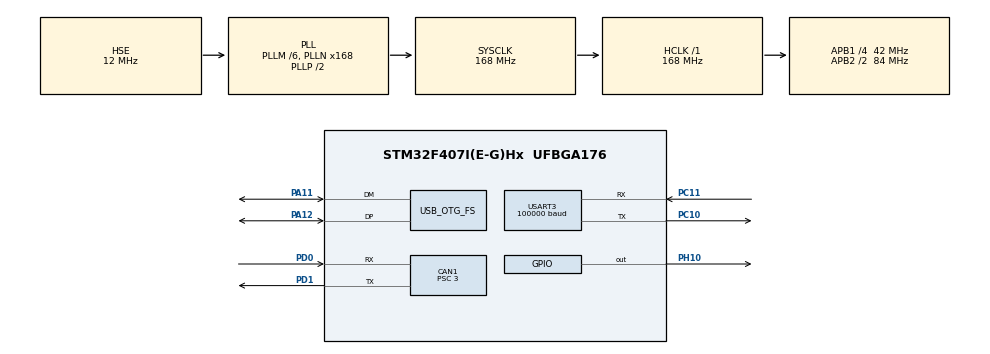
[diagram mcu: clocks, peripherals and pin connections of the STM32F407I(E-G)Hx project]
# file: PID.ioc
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CAN1.BS1=CAN_BS1_10TQ
CAN1.BS2=CAN_BS2_3TQ
CAN1.CalculateBaudRate=1000000
CAN1.CalculateTimeBit=1000
CAN1.CalculateTimeQuantum=71.42857142857143
CAN1.Prescaler=3
Dma.Request0=USART3_RX
Dma.USART3_RX.0.Direction=DMA_PERIPH_TO_MEMORY
Dma.USART3_RX.0.FIFOMode=DMA_FIFOMODE_DISABLE
Dma.USART3_RX.0.Instance=DMA1_Stream1
Dma.USART3_RX.0.MemDataAlignment=DMA_MDATAALIGN_BYTE
Dma.USART3_RX.0.MemInc=DMA_MINC_ENABLE
Dma.USART3_RX.0.Mode=DMA_CIRCULAR
Dma.USART3_RX.0.PeriphDataAlignment=DMA_PDATAALIGN_BYTE
Dma.USART3_RX.0.PeriphInc=DMA_PINC_DISABLE
Dma.USART3_RX.0.Priority=DMA_PRIORITY_LOW
FREERTOS.Tasks01=Status_Pub_Task,0,128,status_pub_task,As weak,NULL,Dynamic,NULL,NULL;PID_Task,-3,128,pid_task,As weak,NULL,Dynamic,NULL,NULL
Mcu.Family=STM32F4
Mcu.Name=STM32F407I(E-G)Hx
Mcu.Package=UFBGA176
NVIC.CAN1_RX0_IRQn=true\:5\:0\:false\:false\:true\:true\:true\:true\:true
NVIC.CAN1_TX_IRQn=true\:5\:0\:false\:false\:true\:true\:true\:true\:true
NVIC.DMA1_Stream1_IRQn=true\:5\:0\:false\:false\:true\:true\:false\:true\:true
NVIC.OTG_FS_IRQn=true\:5\:0\:false\:false\:true\:true\:false\:true\:true
NVIC.PriorityGroup=NVIC_PRIORITYGROUP_4
NVIC.TIM8_TRG_COM_TIM14_IRQn=true\:15\:0\:false\:false\:true\:false\:false\:true\:true
NVIC.TimeBase=TIM8_TRG_COM_TIM14_IRQn
NVIC.TimeBaseIP=TIM14
NVIC.USART3_IRQn=true\:5\:0\:false\:false\:true\:true\:true\:true\:true
PA11.Mode=Device_Only
PA11.Signal=USB_OTG_FS_DM
PA12.Mode=Device_Only
PA12.Signal=USB_OTG_FS_DP
PA13.Mode=Serial_Wire
PA13.Signal=SYS_JTMS-SWDIO
PA14.Mode=Serial_Wire
PA14.Signal=SYS_JTCK-SWCLK
PC10.Mode=Asynchronous
PC10.Signal=USART3_TX
PC11.Mode=Asynchronous
PC11.Signal=USART3_RX
PD0.Mode=CAN_Activate
PD0.Signal=CAN1_RX
PD1.Mode=CAN_Activate
PD1.Signal=CAN1_TX
PH0-OSC_IN.Mode=HSE-External-Oscillator
PH0-OSC_IN.Signal=RCC_OSC_IN
PH1-OSC_OUT.Mode=HSE-External-Oscillator
PH1-OSC_OUT.Signal=RCC_OSC_OUT
PH10.Signal=GPIO_Output
ProjectManager.HeapSize=0x600
ProjectManager.StackSize=0x600
ProjectManager.TargetToolchain=MDK-ARM V5.32
RCC.48MHZClocksFreq_Value=48000000
RCC.AHBFreq_Value=168000000
RCC.APB1CLKDivider=RCC_HCLK_DIV4
RCC.APB1Freq_Value=42000000
RCC.APB1TimFreq_Value=84000000
RCC.APB2CLKDivider=RCC_HCLK_DIV2
RCC.APB2Freq_Value=84000000
RCC.APB2TimFreq_Value=168000000
RCC.CortexFreq_Value=168000000
RCC.HCLKFreq_Value=168000000
RCC.HSE_VALUE=12000000
RCC.HSI_VALUE=16000000
RCC.LSE_VALUE=32768
RCC.PLLM=6
RCC.PLLN=168
RCC.PLLQ=7
RCC.SYSCLKFreq_VALUE=168000000
RCC.SYSCLKSource=RCC_SYSCLKSOURCE_PLLCLK
RCC.VCOOutputFreq_Value=336000000
USART3.BaudRate=100000
USART3.Parity=PARITY_EVEN
USART3.VirtualMode=VM_ASYNC
USART3.WordLength=WORDLENGTH_9B
USB_DEVICE.CLASS_NAME_FS=CDC
USB_DEVICE.VirtualMode-CDC_FS=Cdc
USB_DEVICE.VirtualModeFS=Cdc_FS
USB_OTG_FS.VirtualMode=Device_Only
VP_FREERTOS_VS_CMSIS_V1.Mode=CMSIS_V1
VP_SYS_VS_tim14.Mode=TIM14
VP_USB_DEVICE_VS_USB_DEVICE_CDC_FS.Mode=CDC_FS
board=custom

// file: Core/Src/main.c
/* USER CODE BEGIN Header */
/**
  ******************************************************************************
  * @file           : main.c
  * @brief          : Main program body
  ******************************************************************************
  * @attention
  *
  * Copyright (c) 2025 STMicroelectronics.
  * All rights reserved.
  *
  * This software is licensed under terms that can be found in the LICENSE file
  * in the root directory of this software component.
  * If no LICENSE file comes with this software, it is provided AS-IS.
  *
  ******************************************************************************
  */
/* USER CODE END Header */
#include "main.h"
#include "cmsis_os.h"
#include "can.h"
#include "dma.h"
#include "usart.h"
#include "usb_device.h"
#include "gpio.h"

/* USER CODE BEGIN Includes */
#include "usbd_cdc_if.h"
#include "motor.h"
#include "dr16.h"
#include "pid.h"
/* USER CODE END Includes */

/* USER CODE BEGIN PV */
extern MotorStatus motor_status;
extern Dr16_Receive_Data dr16_data;
Pid pid_speed;
Pid pid_angle;
/* USER CODE END PV */

void SystemClock_Config(void);
void MX_FREERTOS_Init(void);

/* USER CODE BEGIN 0 */
void USB_send_motor_status(MotorStatus *status)
{
  char buffer[64];
//  float target_speed = (dr16_data.channel_0 / 660.0f) * 0.5f;
  float target_speed = 25;
  int len = sprintf(buffer, "%d,%.3f\r\n", status->Speed, target_speed);
  while (CDC_Transmit_FS((uint8_t*)buffer, len) == USBD_BUSY) {
    osDelay(1); // 避免死循环阻塞
  }
}

void pid_task(void const * argument){
  Pid_Init(&pid_speed, 70 , 2, 62, 0.001, NORMAL_PID); // 初始化PID速度环
  Pid_Init(&pid_angle, 0.19 , 0.000, 4, 0.001, NORMAL_PID); //初始化PID角度环
  Pid_Enable_ZeroCrossingProtection(&pid_angle , 1, 4096);
  Pid_Set_Max_Output(&pid_speed , 24999);
  Pid_Set_Max_Output(&pid_angle ,300);
  Pid_Set_Target(&pid_angle,1000);
  while(1){
    //更新角度环
    Pid_Update(&pid_angle, motor_status.MechanicalAngle, pid_angle.target); // 更新PID角度环

    float current_speed = motor_status.Speed;
    pid_speed.target = pid_angle.output; // 角度环输出为速度环目标速度
    Pid_Update(&pid_speed, current_speed, pid_speed.target); // 更新PID
    Motor_CTL_Message_Send(MSG_VOLTAGE_LOW, (int)pid_speed.output, 0, 0, 0);
	osDelay(1); // 1ms

//	  Pid_Update(&pid_speed, motor_status.Speed, pid_speed.target);
//	  Motor_CTL_Message_Send(MSG_VOLTAGE_LOW, (int)pid_speed.output, 0, 0, 0);
//      osDelay(1); // 1ms

	}

}

void status_pub_task(void const * argument){
  while(1){
    USB_send_motor_status(&motor_status); // 发送电机状态
    osDelay(10);
  }

}

/* USER CODE END 0 */

int main(void)
{

  /* MCU Configuration--------------------------------------------------------*/

  /* Reset of all peripherals, Initializes the Flash interface and the Systick. */
  HAL_Init();

  /* Configure the system clock */
  SystemClock_Config();

  /* Initialize all configured peripherals */
  MX_GPIO_Init();
  MX_DMA_Init();
  MX_USART3_UART_Init();
  MX_CAN1_Init();
  /* USER CODE BEGIN 2 */
  MX_USB_DEVICE_Init();
  dma_init();
  CAN_Filter_Init(); // 初始化CAN过滤器
  /* USER CODE END 2 */

  /* Call init function for freertos objects (in cmsis_os2.c) */
  MX_FREERTOS_Init();

  /* Start scheduler */
  osKernelStart();

  /* We should never get here as control is now taken by the scheduler */

  /* Infinite loop */
  while (1)
  {

  }
}

void SystemClock_Config(void)
{
  RCC_OscInitTypeDef RCC_OscInitStruct = {0};
  RCC_ClkInitTypeDef RCC_ClkInitStruct = {0};

  /** Configure the main internal regulator output voltage
  */
  __HAL_RCC_PWR_CLK_ENABLE();
  __HAL_PWR_VOLTAGESCALING_CONFIG(PWR_REGULATOR_VOLTAGE_SCALE1);

  /** Initializes the RCC Oscillators according to the specified parameters
  * in the RCC_OscInitTypeDef structure.
  */
  RCC_OscInitStruct.OscillatorType = RCC_OSCILLATORTYPE_HSE;
  RCC_OscInitStruct.HSEState = RCC_HSE_ON;
  RCC_OscInitStruct.PLL.PLLState = RCC_PLL_ON;
  RCC_OscInitStruct.PLL.PLLSource = RCC_PLLSOURCE_HSE;
  RCC_OscInitStruct.PLL.PLLM = 6;
  RCC_OscInitStruct.PLL.PLLN = 168;
  RCC_OscInitStruct.PLL.PLLP = RCC_PLLP_DIV2;
  RCC_OscInitStruct.PLL.PLLQ = 7;
  if (HAL_RCC_OscConfig(&RCC_OscInitStruct) != HAL_OK)
  {
    Error_Handler();
  }

  /** Initializes the CPU, AHB and APB buses clocks
  */
  RCC_ClkInitStruct.ClockType = RCC_CLOCKTYPE_HCLK|RCC_CLOCKTYPE_SYSCLK
                              |RCC_CLOCKTYPE_PCLK1|RCC_CLOCKTYPE_PCLK2;
  RCC_ClkInitStruct.SYSCLKSource = RCC_SYSCLKSOURCE_PLLCLK;
  RCC_ClkInitStruct.AHBCLKDivider = RCC_SYSCLK_DIV1;
  RCC_ClkInitStruct.APB1CLKDivider = RCC_HCLK_DIV4;
  RCC_ClkInitStruct.APB2CLKDivider = RCC_HCLK_DIV2;

  if (HAL_RCC_ClockConfig(&RCC_ClkInitStruct, FLASH_LATENCY_5) != HAL_OK)
  {
    Error_Handler();
  }
}

void HAL_TIM_PeriodElapsedCallback(TIM_HandleTypeDef *htim)
{
  if (htim->Instance == TIM14)
  {
    HAL_IncTick();
  }
}

void Error_Handler(void)
{
  __disable_irq();
  while (1)
  {
  }
}

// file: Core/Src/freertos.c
/* USER CODE BEGIN Header */
/**
  ******************************************************************************
  * File Name          : freertos.c
  * Description        : Code for freertos applications
  ******************************************************************************
  * @attention
  *
  * Copyright (c) 2025 STMicroelectronics.
  * All rights reserved.
  *
  * This software is licensed under terms that can be found in the LICENSE file
  * in the root directory of this software component.
  * If no LICENSE file comes with this software, it is provided AS-IS.
  *
  ******************************************************************************
  */
/* USER CODE END Header */

#include "FreeRTOS.h"
#include "task.h"
#include "main.h"
#include "cmsis_os.h"

osThreadId Status_Pub_TaskHandle;
osThreadId PID_TaskHandle;

void status_pub_task(void const * argument);
void pid_task(void const * argument);

extern void MX_USB_DEVICE_Init(void);
void MX_FREERTOS_Init(void); /* (MISRA C 2004 rule 8.1) */

/* GetIdleTaskMemory prototype (linked to static allocation support) */
void vApplicationGetIdleTaskMemory( StaticTask_t **ppxIdleTaskTCBBuffer, StackType_t **ppxIdleTaskStackBuffer, uint32_t *pulIdleTaskStackSize );

/* USER CODE BEGIN GET_IDLE_TASK_MEMORY */
static StaticTask_t xIdleTaskTCBBuffer;
static StackType_t xIdleStack[configMINIMAL_STACK_SIZE];

void vApplicationGetIdleTaskMemory( StaticTask_t **ppxIdleTaskTCBBuffer, StackType_t **ppxIdleTaskStackBuffer, uint32_t *pulIdleTaskStackSize )
{
  *ppxIdleTaskTCBBuffer = &xIdleTaskTCBBuffer;
  *ppxIdleTaskStackBuffer = &xIdleStack[0];
  *pulIdleTaskStackSize = configMINIMAL_STACK_SIZE;
  /* place for user code */
}
/* USER CODE END GET_IDLE_TASK_MEMORY */

void MX_FREERTOS_Init(void) {

  /* Create the thread(s) */
  /* definition and creation of Status_Pub_Task */
  osThreadDef(Status_Pub_Task, status_pub_task, osPriorityNormal, 0, 128);
  Status_Pub_TaskHandle = osThreadCreate(osThread(Status_Pub_Task), NULL);

  /* definition and creation of PID_Task */
  osThreadDef(PID_Task, pid_task, osPriorityIdle, 0, 128);
  PID_TaskHandle = osThreadCreate(osThread(PID_Task), NULL);

}

__weak void status_pub_task(void const * argument)
{
  /* init code for USB_DEVICE */
  MX_USB_DEVICE_Init();
  for(;;)
  {
    osDelay(1);
  }
}

__weak void pid_task(void const * argument)
{
  for(;;)
  {
    osDelay(1);
  }
}
